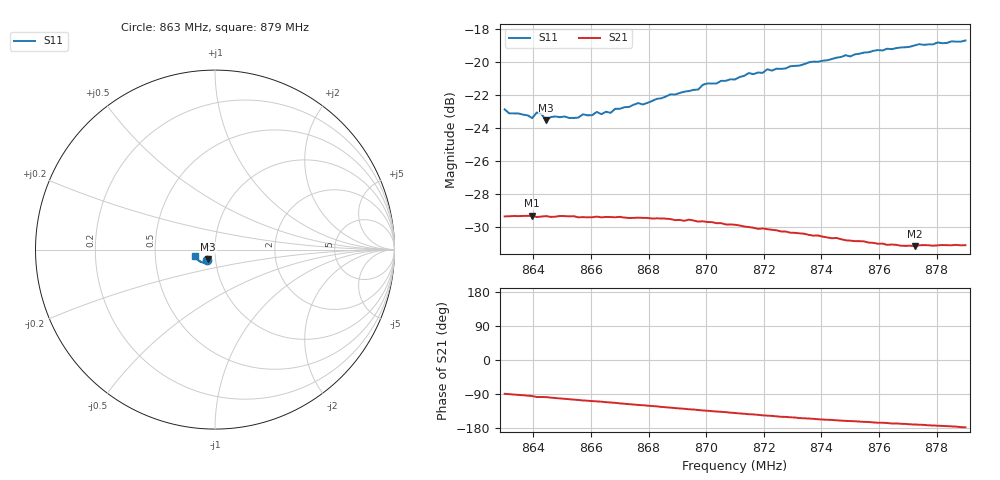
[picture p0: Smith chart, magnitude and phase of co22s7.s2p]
# HZ S RI R 50
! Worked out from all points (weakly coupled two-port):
!   101 points, 863 MHz to 879 MHz, reference 50 ohm
!   highest |S21| = -29.31 dB at 863.96 MHz (marker M1); lowest = -31.2 dB at 877.24 MHz (marker M2)
!   lowest |S11| = -23.5 dB at 864.44 MHz (marker M3), VSWR 1.14, Z = 46.1 - j5.07 ohm
!   |S11| at or under -10 dB: start of sweep to end of sweep
!   S12 and S22 are empty: the file has one direction only
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8.63e8  -0.0449 -0.0563  0.000498 -0.0341  0 0  0 0
8.6316e8  -0.0429 -0.0554  -0.000148 -0.0341  0 0  0 0
8.6396e8  -0.0399 -0.0547  -0.00303 -0.0341  0 0  0 0
8.6412e8  -0.041 -0.0573  -0.00461 -0.0336  0 0  0 0
8.6428e8  -0.0392 -0.0576  -0.00445 -0.0337  0 0  0 0
8.6444e8  -0.038 -0.0547  -0.00476 -0.0338  0 0  0 0
8.646e8  -0.0389 -0.056  -0.00547 -0.0335  0 0  0 0
8.6556e8  -0.0362 -0.0576  -0.00903 -0.0326  0 0  0 0
8.6572e8  -0.0365 -0.0592  -0.00977 -0.0325  0 0  0 0
8.6668e8  -0.0348 -0.061  -0.0128 -0.0314  0 0  0 0
8.6684e8  -0.0357 -0.0629  -0.0133 -0.0312  0 0  0 0
8.6844e8  -0.0386 -0.0676  -0.0187 -0.0279  0 0  0 0
8.6972e8  -0.0427 -0.0708  -0.022 -0.0244  0 0  0 0
8.7004e8  -0.0459 -0.0731  -0.0227 -0.0236  0 0  0 0
8.71e8  -0.0506 -0.0729  -0.0246 -0.0207  0 0  0 0
8.7148e8  -0.0556 -0.0743  -0.0253 -0.019  0 0  0 0
8.7196e8  -0.0578 -0.0728  -0.026 -0.0175  0 0  0 0
8.7212e8  -0.0606 -0.0736  -0.0261 -0.017  0 0  0 0
8.7372e8  -0.0706 -0.0716  -0.027 -0.0125  0 0  0 0
8.7644e8  -0.0919 -0.0599  -0.0273 -0.00607  0 0  0 0
8.7724e8  -0.099 -0.0537  -0.0273 -0.00468  0 0  0 0
8.79e8  -0.1102 -0.0381  -0.0278 -0.00114  0 0  0 0
